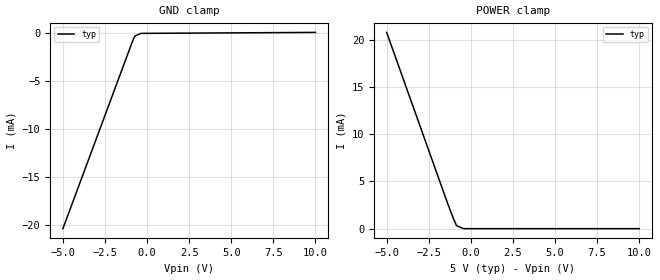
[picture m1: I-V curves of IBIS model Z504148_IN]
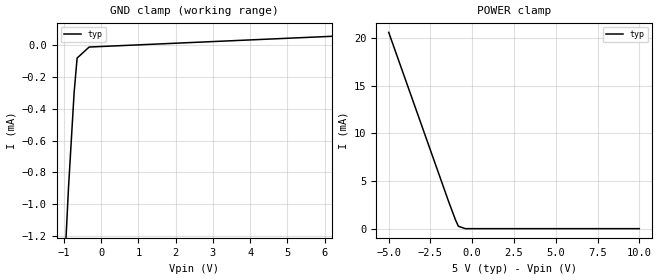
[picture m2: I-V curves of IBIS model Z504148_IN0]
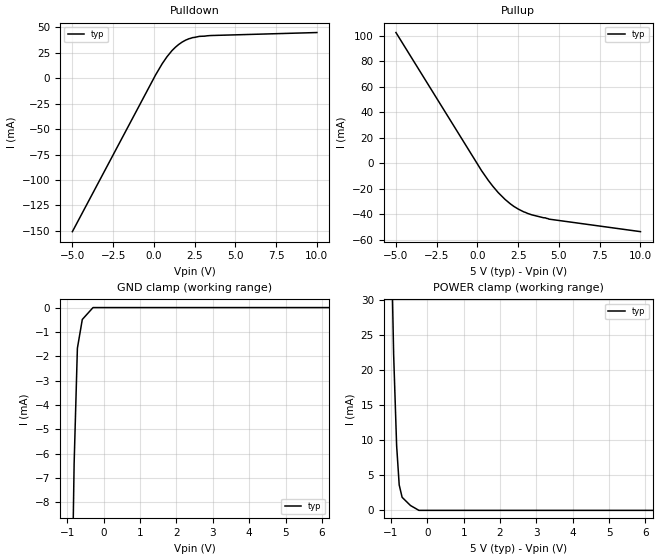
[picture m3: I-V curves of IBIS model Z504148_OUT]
| YOU ARE ONLY AUTHORIZED TO USE THIS SOFTWARE
| ACCORDING TO LICENSOR'S LICENSE RESTRICTIONS.
[IBIS Ver] 3.1
[File Name] mc74hc139ad.ibs
[File Rev] 2.0
[Source] Measured and created by ICX Technology
[Date] Friday 7/14/00 9:08:08 AM
[Copyright]
| (C) COPYRIGHT 1993-2000
| MENTOR GRAPHICS CORPORATION
| ICX STANDARD LIBRARY, ICX PROJECT MODELING,
| ICX CUSTOM MODELING, ICX VENDOR MODEL
| ALL RIGHTS RESERVED.
| THE FOLLOWING ARE TRADEMARKS OR SERVICE MARKS OF
| MENTOR GRAPHICS CORPORATION:ICX (R), ICX STANDARD
| LIBRARY(R), ICX PROJECT MODELING(R), ICX CUSTOM
| MODELING(R), qualityIBIS(TM), MODELVIEWER(TM),
| AND MODELEDITOR(TM)
| ALL COPIES OF SOFTWARE, INCLUDING BUT NOT LIMITED TO
| ANY MODIFICATIONS, ENHANCEMENTS OR DERIVATIVE WORKS,
| MUST CONTAIN ALL MENTOR GRAPHICS CORPORATION'S
| NOTICES AND LEGENDS, INCLUDING THOSE EMBEDDED IN
| SOFTWARE AND THOSE AFFIXED TO SOFTWARE MEDIUM
| AND CONTAINER, AS RECEIVED FROM MENTOR GRAPHICS
| CORPORATION.
|  ZAP Model Builder 2.7
[Component] MC74HC139AD
[Manufacturer] OnSemiconductor
[Package]
| variable   typ   min   max
R_pkg  .156ohms NA NA
L_pkg  3.148nH NA NA
C_pkg  .388pF NA NA
[Pin] signal_name  model_name  R_pin  L_pin C_pin
1 _G Z504148_IN0 .162 3.798n .418p
2 A Z504148_IN .158 3.358n .398p
3 B Z504148_IN .154 2.928n .378p
4 _Y0 Z504148_OUT .15 2.508n .358p
5 _Y1 Z504148_OUT .15 2.508n .358p
6 _Y2 Z504148_OUT .154 2.928n .378p
7 _Y3 Z504148_OUT .158 3.358n .398p
8 GROUND GND .162 3.798n .418p
9 _Y3 Z504148_OUT .162 3.798n .418p
10 _Y2 Z504148_OUT .158 3.358n .398p
11 _Y1 Z504148_OUT .154 2.928n .378p
12 _Y0 Z504148_OUT .15 2.508n .358p
13 B Z504148_IN .15 2.508n .358p
14 A Z504148_IN .154 2.928n .378p
15 _G Z504148_IN0 .158 3.358n .398p
16 VCC POWER .162 3.798n .418p
| Models and submodels in the file (3): Z504148_IN (Input), Z504148_IN0 (Input), Z504148_OUT (Output)
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| (C) COPYRIGHT 1993-2000
| MENTOR GRAPHICS CORPORATION
| ICX STANDARD LIBRARY, ICX PROJECT MODELING,
| ICX CUSTOM MODELING, ICX VENDOR MODEL
| ALL RIGHTS RESERVED.
| THE FOLLOWING ARE TRADEMARKS OR SERVICE MARKS OF
| MENTOR GRAPHICS CORPORATION:ICX (R), ICX STANDARD
| LIBRARY(R), ICX PROJECT MODELING(R), ICX CUSTOM
| MODELING(R), qualityIBIS(TM), MODELVIEWER(TM),
| AND MODELEDITOR(TM)
| ALL COPIES OF SOFTWARE, INCLUDING BUT NOT LIMITED TO
| ANY MODIFICATIONS, ENHANCEMENTS OR DERIVATIVE WORKS,
| MUST CONTAIN ALL MENTOR GRAPHICS CORPORATION'S
| NOTICES AND LEGENDS, INCLUDING THOSE EMBEDDED IN
| SOFTWARE AND THOSE AFFIXED TO SOFTWARE MEDIUM
| AND CONTAINER, AS RECEIVED FROM MENTOR GRAPHICS
| CORPORATION.
| Model Application Version 1.89 2/18/99.
[Model] Z504148_IN
Model_type Input
Vinl = 1.000V
Vinh = 3.500V
C_comp 4.000pF NA NA
| variable typ   min   max
[Voltage Range] 5.000V NA NA
[GND Clamp Reference] 0.000V NA NA
[POWER Clamp Reference] 5.000V NA NA
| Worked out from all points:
|   POWER clamp passes 1 mA (typ) near -1.02 V on its own axis
[GND Clamp]
-5V       -20.39mA   NA         NA
-878.9mV  -895.3uA   NA         NA
-727.8mV  -295uA     NA         NA
-363.9mV  -13.69uA   NA         NA
10V       89.9uA     NA         NA
[POWER Clamp]
-5V       20.78mA    NA         NA
-1.404V   2.8mA      NA         NA
-1.06V    1.18mA     NA         NA
-849mV    317.2uA    NA         NA
-424.5mV  0A         NA         NA
10V       0A         NA         NA
| (C) COPYRIGHT 1993-2000
| MENTOR GRAPHICS CORPORATION
| ICX STANDARD LIBRARY, ICX PROJECT MODELING,
| ICX CUSTOM MODELING, ICX VENDOR MODEL
| ALL RIGHTS RESERVED.
| THE FOLLOWING ARE TRADEMARKS OR SERVICE MARKS OF
| MENTOR GRAPHICS CORPORATION:ICX (R), ICX STANDARD
| LIBRARY(R), ICX PROJECT MODELING(R), ICX CUSTOM
| MODELING(R), qualityIBIS(TM), MODELVIEWER(TM),
| AND MODELEDITOR(TM)
| ALL COPIES OF SOFTWARE, INCLUDING BUT NOT LIMITED TO
| ANY MODIFICATIONS, ENHANCEMENTS OR DERIVATIVE WORKS,
| MUST CONTAIN ALL MENTOR GRAPHICS CORPORATION'S
| NOTICES AND LEGENDS, INCLUDING THOSE EMBEDDED IN
| SOFTWARE AND THOSE AFFIXED TO SOFTWARE MEDIUM
| AND CONTAINER, AS RECEIVED FROM MENTOR GRAPHICS
| CORPORATION.
| Model Application Version 1.89 2/18/99.
[Model] Z504148_IN0
Model_type Input
Vinl = 1.000V
Vinh = 3.500V
C_comp 4.000pF NA NA
| variable typ   min   max
[Voltage Range] 5.000V NA NA
[GND Clamp Reference] 0.000V NA NA
[POWER Clamp Reference] 5.000V NA NA
[GND Clamp]
-5V       -20.38mA   NA         NA
-878.9mV  -897.6uA   NA         NA
-727.7mV  -299.5uA   NA         NA
-647mV    -82.79uA   NA         NA
-323.5mV  -13.94uA   NA         NA
10V       92.64uA    NA         NA
[POWER Clamp]
-5V       20.6mA     NA         NA
-1.404V   2.796mA    NA         NA
-1.003V   924.4uA    NA         NA
-830mV    254.2uA    NA         NA
-415mV    0A         NA         NA
10V       0A         NA         NA
| (C) COPYRIGHT 1993-2000
| MENTOR GRAPHICS CORPORATION
| ICX STANDARD LIBRARY, ICX PROJECT MODELING,
| ICX CUSTOM MODELING, ICX VENDOR MODEL
| ALL RIGHTS RESERVED.
| THE FOLLOWING ARE TRADEMARKS OR SERVICE MARKS OF
| MENTOR GRAPHICS CORPORATION:ICX (R), ICX STANDARD
| LIBRARY(R), ICX PROJECT MODELING(R), ICX CUSTOM
| MODELING(R), qualityIBIS(TM), MODELVIEWER(TM),
| AND MODELEDITOR(TM)
| ALL COPIES OF SOFTWARE, INCLUDING BUT NOT LIMITED TO
| ANY MODIFICATIONS, ENHANCEMENTS OR DERIVATIVE WORKS,
| MUST CONTAIN ALL MENTOR GRAPHICS CORPORATION'S
| NOTICES AND LEGENDS, INCLUDING THOSE EMBEDDED IN
| SOFTWARE AND THOSE AFFIXED TO SOFTWARE MEDIUM
| AND CONTAINER, AS RECEIVED FROM MENTOR GRAPHICS
| CORPORATION.
| Model Application Version 1.89 2/18/99.
[Model] Z504148_OUT
Model_type Output
Vref=0.000V
Rref=500.0Mohms
Cref=50.00pF
Vmeas=2.500V
C_comp 5.000pF NA NA
| variable typ   min   max
[Voltage Range] 5.000V NA NA
[POWER Clamp Reference] 5.000V NA NA
[Pullup Reference] 5.000V NA NA
[Pulldown Reference] 0.000V NA NA
[GND Clamp Reference] 0.000V NA NA
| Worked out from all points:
|   slope of the pulldown table from 0 to 0.75 V, typ, clamps not added: 37.9 ohm
|   slope of the pullup table from 0 to 0.75 V, typ, clamps not added: 52.8 ohm
|   GND clamp passes 1 mA (typ) near -0.65 V on its own axis
|   POWER clamp passes 1 mA (typ) near -0.52 V on its own axis
[GND Clamp]
-5V       -305.8mA   NA         NA
-1.255V   -45.22mA   NA         NA
-1.059V   -29.54mA   NA         NA
-815.4mV  -6.406mA   NA         NA
-725.8mV  -1.671mA   NA         NA
-590.7mV  -488.4uA   NA         NA
-295.3mV  0A         NA         NA
10V       0A         NA         NA
[Pulldown]
-5V       -150.8mA   NA         NA
102.5mV   3.242mA    NA         NA
509.3mV   14.29mA    NA         NA
803.3mV   21.16mA    NA         NA
1.113V    27.24mA    NA         NA
1.527V    33.3mA     NA         NA
2.158V    38.92mA    NA         NA
2.793V    41.2mA     NA         NA
10V       44.96mA    NA         NA
[Pullup]
-5V       102.6mA    NA         NA
254mV     -5.752mA   NA         NA
665mV     -13.31mA   NA         NA
1.274V    -22.92mA   NA         NA
2.023V    -31.79mA   NA         NA
2.856V    -38.13mA   NA         NA
3.33V     -40.35mA   NA         NA
4.385V    -43.72mA   NA         NA
10V       -53.54mA   NA         NA
[POWER Clamp]
-5V       1.574A     NA         NA
-1.416V   172.2mA    NA         NA
-1.113V   69.65mA    NA         NA
-927mV    22.2mA     NA         NA
-845mV    9.234mA    NA         NA
-774mV    3.619mA    NA         NA
-694mV    1.859mA    NA         NA
-464mV    691.8uA    NA         NA
-232mV    0A         NA         NA
10V       0A         NA         NA
[Ramp]
| variable typ min max
dV/dt_r 2.740/842.1p NA NA
dV/dt_f 2.740/723.2p NA NA
R_load = 500.0Ohms
